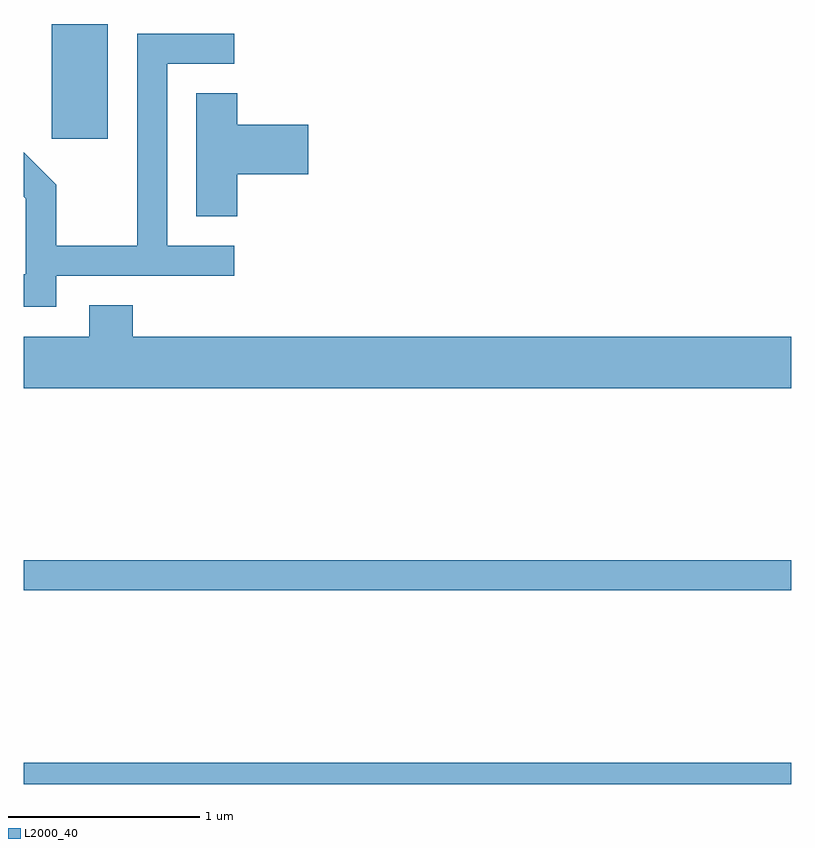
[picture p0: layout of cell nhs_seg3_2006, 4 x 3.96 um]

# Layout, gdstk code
import gdstk
lib = gdstk.Library(unit=1e-6, precision=1e-09)
def R(c, l, rs):  # rectangles x0, y0, x1, y1
    for r in rs: c.add(gdstk.rectangle(r[:2], r[2:], *l))
def P(c, l, *ps):  # polygons
    for p in ps: c.add(gdstk.Polygon(p, *l))
L2000_40 = (2000, 40)

nhs_seg3_2006 = lib.new_cell('nhs_seg3_2006')
R(nhs_seg3_2006, L2000_40, [(243.611,1183.892,247.611,1184.004), (243.611,1184.901,247.611,1185.059), (243.756,1187.256,244.049,1187.854)])
P(nhs_seg3_2006, L2000_40, [(243.779,1186.541),(244.708,1186.541),(244.708,1186.699),(244.359,1186.699),(244.359,1187.646),(244.708,1187.646),(244.708,1187.804),(244.201,1187.804),(244.201,1186.699),(243.779,1186.699),(243.779,1187.017),(243.611,1187.185),(243.611,1186.954),(243.621,1186.944),(243.621,1186.549),(243.611,1186.549),(243.611,1186.381),(243.779,1186.381)],
  [(244.724,1187.071),(245.094,1187.071),(245.094,1187.329),(244.724,1187.329),(244.724,1187.494),(244.511,1187.494),(244.511,1186.851),(244.724,1186.851)],
  [(247.611,1186.224),(244.179,1186.224),(244.179,1186.389),(243.951,1186.389),(243.951,1186.224),(243.611,1186.224),(243.611,1185.956),(247.611,1185.956)])

lib.write_gds('nhs_seg3_2006.gds')
